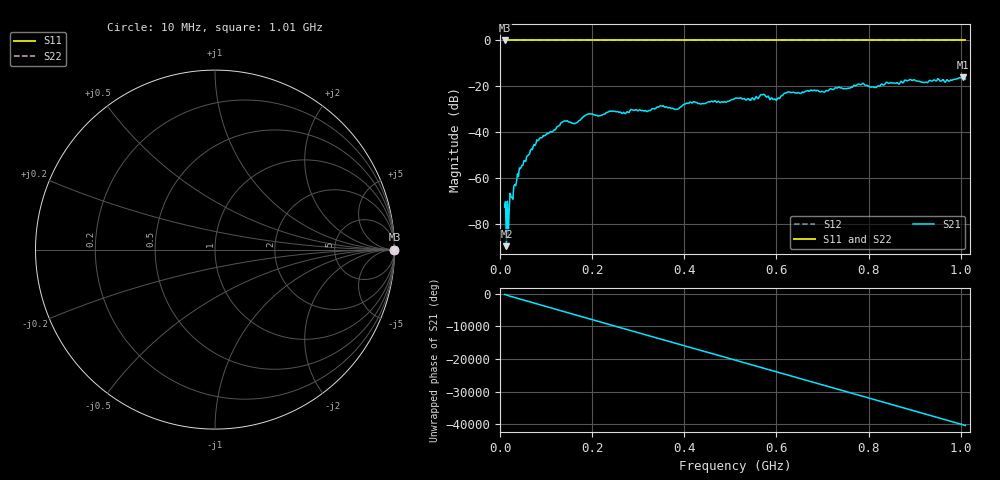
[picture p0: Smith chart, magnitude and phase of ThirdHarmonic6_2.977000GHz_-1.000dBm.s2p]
! 8/17/2025 8:26:49 AM
! C:\ANRITSUVNA\TEMP\TEMP.S2P
! CHANNEL.1
! TR.MEASUREMENT
! RAW.DATA
! RF.CORRECTION.OFF
! AVERAGING.OFF
! IF.BANDWIDTH: 5KHZ
! SWEEPTYPE:  FREQ.SWEEP(Linear)
! Reference Plane Port Info
! PORT:  PORT1  PORT2
! DISTANCE:  0  m  0  m
! TIME:  0  s  0  s
! PHASE.OFFSET:  0  deg.  0  deg.
! LOSS:  0  dB  0  dB
! REF.LOSS:  0  dB  0  dB
! REF.FREQ:  0  Hz  0  Hz
! Power Info
! POWER:  -20  dBm  -20  dBm
! EFF.POWER:  -20  dBm  -20  dBm
! SOURCE.ATTEN:  0  dB  0  dB
! TEST.ATTEN:  0  dB  0  dB
# GHZ S RI R 50.0
! FREQ.GHZ  S11RE  S11IM  S21RE  S21IM  S12RE  S12IM  S22RE  S22IM
!; PortSelection: Port_12
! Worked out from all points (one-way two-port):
!   501 points, 10 MHz to 1.01 GHz, reference 50 ohm
!   highest |S21| = -16.05 dB at 1.004 GHz (marker M1); lowest = -89.6 dB at 14 MHz (marker M2)
!   lowest |S11| = 0.0 dB at 10 MHz (marker M3)
!   |S11| at or under -10 dB: nowhere
!   |S22| runs from 0.0 to 0.0 dB; largest |S21 - S12| = 1.1
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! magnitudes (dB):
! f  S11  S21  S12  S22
! 10 MHz  0.0  -72.6  0.0  0.0
! 14 MHz  0.0  -89.6  0.0  0.0
! 18 MHz  0.0  -84.7  0.0  0.0
! 42 MHz  0.0  -55.5  0.0  0.0
! 84 MHz  0.0  -43.3  0.0  0.0
! 136 MHz  0.0  -35.5  0.0  0.0
! 162 MHz  0.0  -36.3  0.0  0.0
! 178 MHz  0.0  -33.8  0.0  0.0
! 344 MHz  0.0  -29.0  0.0  0.0
! 382 MHz  0.0  -30.0  0.0  0.0
! 416 MHz  0.0  -27.2  0.0  0.0
! 510 MHz  0.0  -25.2  0.0  0.0
! 548 MHz  0.0  -25.0  0.0  0.0
! 570 MHz  0.0  -23.7  0.0  0.0
! 596 MHz  0.0  -25.4  0.0  0.0
! 622 MHz  0.0  -22.7  0.0  0.0
! 678 MHz  0.0  -21.9  0.0  0.0
! 784 MHz  0.0  -19.2  0.0  0.0
! 814 MHz  0.0  -20.4  0.0  0.0
! 844 MHz  0.0  -18.7  0.0  0.0
! 1.004 GHz  0.0  -16.1  0.0  0.0
! 1.01 GHz  0.0  -16.8  0.0  0.0
